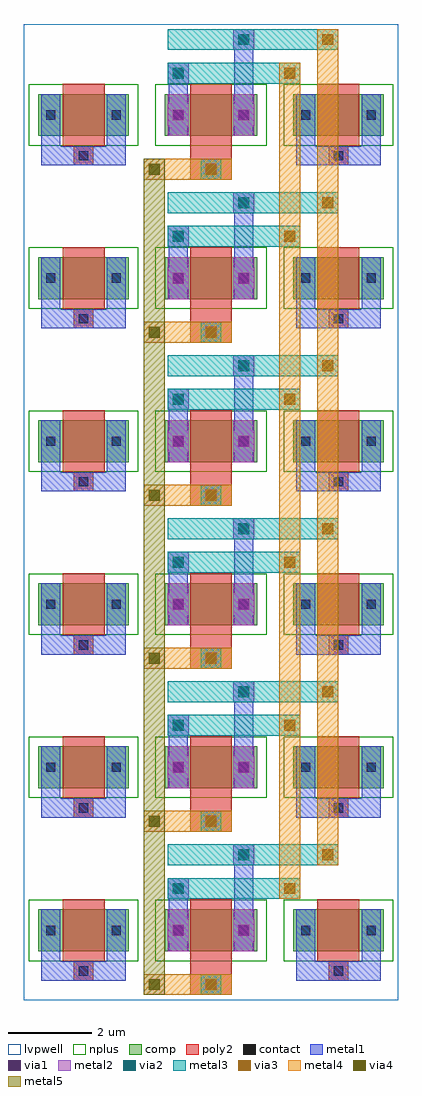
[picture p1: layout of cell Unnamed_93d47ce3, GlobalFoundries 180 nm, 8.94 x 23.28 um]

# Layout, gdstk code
import gdstk
lib = gdstk.Library(unit=1e-6, precision=5e-09)
def R(c, l, rs):  # rectangles x0, y0, x1, y1
    for r in rs: c.add(gdstk.rectangle(r[:2], r[2:], *l))
def A(c, l, x, y, w, h, nx, ny, dx, dy):  # array of equal rectangles
    R(c, l, [(x+i*dx, y+j*dy, x+i*dx+w, y+j*dy+h) for i in range(nx) for j in range(ny)])
def P(c, l, *ps):  # polygons
    for p in ps: c.add(gdstk.Polygon(p, *l))
comp = (22, 0)
poly2 = (30, 0)
nplus = (32, 0)
contact = (33, 0)
metal1 = (34, 0)
via1 = (35, 0)
metal2 = (36, 0)
via2 = (38, 0)
via3 = (40, 0)
via4 = (41, 0)
metal3 = (42, 0)
metal4 = (46, 0)
metal5 = (81, 0)
lvpwell = (204, 0)

unnamed_93d47ce3 = lib.new_cell('Unnamed_93d47ce3')
A(unnamed_93d47ce3, comp, -4.12, -10.48, 2.16, 1, 1, 6, 0, 3.89)
A(unnamed_93d47ce3, comp, -1.1, -10.48, 2.2, 1, 1, 6, 0, 3.89)
A(unnamed_93d47ce3, comp, 1.96, -10.48, 2.16, 1, 1, 6, 0, 3.89)
A(unnamed_93d47ce3, poly2, -0.5, -11.52, 1, 0.5, 1, 6, 0, 3.89)
A(unnamed_93d47ce3, poly2, -0.18, -11.45, 0.36, 0.36, 1, 6, 0, 3.89)
A(unnamed_93d47ce3, poly2, -3.27, -11.18, 0.46, 0.46, 1, 6, 0, 3.89)
A(unnamed_93d47ce3, poly2, 2.81, -11.18, 0.46, 0.46, 1, 6, 0, 3.89)
A(unnamed_93d47ce3, poly2, -3.22, -11.13, 0.36, 0.36, 1, 6, 0, 3.89)
A(unnamed_93d47ce3, poly2, 2.86, -11.13, 0.36, 0.36, 1, 6, 0, 3.89)
A(unnamed_93d47ce3, poly2, -0.5, -11.02, 1, 0.3, 1, 6, 0, 3.89)
A(unnamed_93d47ce3, poly2, -3.54, -10.72, 1, 1.48, 3, 6, 3.04, 3.89)
A(unnamed_93d47ce3, nplus, -4.35, -10.71, 2.62, 1.46, 1, 6, 0, 3.89)
A(unnamed_93d47ce3, nplus, -1.33, -10.71, 2.66, 1.46, 1, 6, 0, 3.89)
A(unnamed_93d47ce3, nplus, 1.73, -10.71, 2.62, 1.46, 1, 6, 0, 3.89)
A(unnamed_93d47ce3, contact, -0.11, -11.38, 0.22, 0.22, 1, 6, 0, 3.89)
A(unnamed_93d47ce3, contact, -3.15, -11.06, 0.22, 0.22, 1, 6, 0, 3.89)
A(unnamed_93d47ce3, contact, 2.93, -11.06, 0.22, 0.22, 1, 6, 0, 3.89)
A(unnamed_93d47ce3, contact, -3.93, -10.09, 0.22, 0.22, 1, 6, 0, 3.89)
A(unnamed_93d47ce3, contact, -2.37, -10.09, 0.22, 0.22, 1, 6, 0, 3.89)
A(unnamed_93d47ce3, contact, -0.89, -10.09, 0.22, 0.22, 1, 6, 0, 3.89)
A(unnamed_93d47ce3, contact, 0.67, -10.09, 0.22, 0.22, 1, 6, 0, 3.89)
A(unnamed_93d47ce3, contact, 2.15, -10.09, 0.22, 0.22, 1, 6, 0, 3.89)
A(unnamed_93d47ce3, contact, 3.71, -10.09, 0.22, 0.22, 1, 6, 0, 3.89)
A(unnamed_93d47ce3, metal1, -0.25, -11.52, 0.5, 0.5, 1, 6, 0, 3.89)
A(unnamed_93d47ce3, metal1, -4.05, -11.18, 0.78, 0.46, 1, 6, 0, 3.89)
A(unnamed_93d47ce3, metal1, -4.05, -11.18, 0.46, 0.7, 1, 6, 0, 3.89)
A(unnamed_93d47ce3, metal1, -3.27, -11.18, 0.46, 0.46, 1, 6, 0, 3.89)
A(unnamed_93d47ce3, metal1, -2.81, -11.18, 0.78, 0.46, 1, 6, 0, 3.89)
A(unnamed_93d47ce3, metal1, -2.49, -11.18, 0.46, 0.7, 1, 6, 0, 3.89)
A(unnamed_93d47ce3, metal1, 2.03, -11.18, 0.78, 0.46, 1, 6, 0, 3.89)
A(unnamed_93d47ce3, metal1, 2.03, -11.18, 0.46, 0.7, 1, 6, 0, 3.89)
A(unnamed_93d47ce3, metal1, 2.81, -11.18, 0.46, 0.46, 1, 6, 0, 3.89)
A(unnamed_93d47ce3, metal1, 3.27, -11.18, 0.78, 0.46, 1, 6, 0, 3.89)
A(unnamed_93d47ce3, metal1, 3.59, -11.18, 0.46, 0.7, 1, 6, 0, 3.89)
A(unnamed_93d47ce3, metal1, -4.05, -10.48, 0.46, 1, 1, 6, 0, 3.89)
A(unnamed_93d47ce3, metal1, -2.49, -10.48, 0.46, 1, 1, 6, 0, 3.89)
A(unnamed_93d47ce3, metal1, -1.01, -10.48, 0.46, 1, 1, 6, 0, 3.89)
A(unnamed_93d47ce3, metal1, 0.55, -10.48, 0.46, 1, 1, 6, 0, 3.89)
A(unnamed_93d47ce3, metal1, 2.03, -10.48, 0.46, 1, 1, 6, 0, 3.89)
A(unnamed_93d47ce3, metal1, 3.59, -10.48, 0.46, 1, 1, 6, 0, 3.89)
A(unnamed_93d47ce3, metal1, -4.05, -10.21, 0.46, 0.46, 1, 6, 0, 3.89)
A(unnamed_93d47ce3, metal1, -2.49, -10.21, 0.46, 0.46, 1, 6, 0, 3.89)
A(unnamed_93d47ce3, metal1, -1.01, -10.21, 0.46, 0.46, 1, 6, 0, 3.89)
A(unnamed_93d47ce3, metal1, 0.55, -10.21, 0.46, 0.46, 1, 6, 0, 3.89)
A(unnamed_93d47ce3, metal1, 2.03, -10.21, 0.46, 0.46, 1, 6, 0, 3.89)
A(unnamed_93d47ce3, metal1, 3.59, -10.21, 0.46, 0.46, 1, 6, 0, 3.89)
A(unnamed_93d47ce3, metal1, -1.01, -9.48, 0.46, 0.75, 1, 6, 0, 3.89)
A(unnamed_93d47ce3, metal1, 0.55, -9.48, 0.46, 1.55, 1, 6, 0, 3.89)
R(unnamed_93d47ce3, metal1, [(-1.03,-10.23,-0.53,-9.73), (-1.03,-10.23,-0.53,-9.73), (0.53,-10.23,1.03,-9.73), (0.53,-10.23,1.03,-9.73), (-1.03,-9.23,-0.53,-8.73), (0.53,-8.43,1.03,-7.93), (-1.03,-6.34,-0.53,-5.84), (-1.03,-6.34,-0.53,-5.84), (0.53,-6.34,1.03,-5.84), (0.53,-6.34,1.03,-5.84), (-1.03,-5.34,-0.53,-4.84), (0.53,-4.54,1.03,-4.04), (-1.03,-2.45,-0.53,-1.95), (-1.03,-2.45,-0.53,-1.95), (0.53,-2.45,1.03,-1.95), (0.53,-2.45,1.03,-1.95), (-1.03,-1.45,-0.53,-0.95), (0.53,-0.65,1.03,-0.15), (-1.03,1.44,-0.53,1.94), (-1.03,1.44,-0.53,1.94), (0.53,1.44,1.03,1.94), (0.53,1.44,1.03,1.94), (-1.03,2.44,-0.53,2.94), (0.53,3.24,1.03,3.74), (-1.03,5.33,-0.53,5.83), (-1.03,5.33,-0.53,5.83), (0.53,5.33,1.03,5.83), (0.53,5.33,1.03,5.83), (-1.03,6.33,-0.53,6.83), (0.53,7.13,1.03,7.63), (-1.03,9.22,-0.53,9.72), (-1.03,9.22,-0.53,9.72), (0.53,9.22,1.03,9.72), (0.53,9.22,1.03,9.72), (-1.03,10.22,-0.53,10.72), (0.53,11.02,1.03,11.52)])
A(unnamed_93d47ce3, via1, -0.13, -11.4, 0.26, 0.26, 1, 6, 0, 3.89)
R(unnamed_93d47ce3, via1, [(-0.91,-10.11,-0.65,-9.85), (0.65,-10.11,0.91,-9.85), (-0.91,-9.11,-0.65,-8.85), (0.65,-8.31,0.91,-8.05), (-0.91,-6.22,-0.65,-5.96), (0.65,-6.22,0.91,-5.96), (-0.91,-5.22,-0.65,-4.96), (0.65,-4.42,0.91,-4.16), (-0.91,-2.33,-0.65,-2.07), (0.65,-2.33,0.91,-2.07), (-0.91,-1.33,-0.65,-1.07), (0.65,-0.53,0.91,-0.27), (-0.91,1.56,-0.65,1.82), (0.65,1.56,0.91,1.82), (-0.91,2.56,-0.65,2.82), (0.65,3.36,0.91,3.62), (-0.91,5.45,-0.65,5.71), (0.65,5.45,0.91,5.71), (-0.91,6.45,-0.65,6.71), (0.65,7.25,0.91,7.51), (-0.91,9.34,-0.65,9.6), (0.65,9.34,0.91,9.6), (-0.91,10.34,-0.65,10.6), (0.65,11.14,0.91,11.4)])
A(unnamed_93d47ce3, metal2, -0.25, -11.52, 0.5, 0.5, 1, 6, 0, 3.89)
A(unnamed_93d47ce3, metal2, -1.03, -10.48, 0.5, 1, 1, 6, 0, 3.89)
A(unnamed_93d47ce3, metal2, 0.53, -10.48, 0.5, 1, 1, 6, 0, 3.89)
R(unnamed_93d47ce3, metal2, [(-1.03,-10.23,-0.53,-9.73), (0.53,-10.23,1.03,-9.73), (-1.03,-9.23,-0.53,-8.73), (0.53,-8.43,1.03,-7.93), (-1.03,-6.34,-0.53,-5.84), (0.53,-6.34,1.03,-5.84), (-1.03,-5.34,-0.53,-4.84), (0.53,-4.54,1.03,-4.04), (-1.03,-2.45,-0.53,-1.95), (0.53,-2.45,1.03,-1.95), (-1.03,-1.45,-0.53,-0.95), (0.53,-0.65,1.03,-0.15), (-1.03,1.44,-0.53,1.94), (0.53,1.44,1.03,1.94), (-1.03,2.44,-0.53,2.94), (0.53,3.24,1.03,3.74), (-1.03,5.33,-0.53,5.83), (0.53,5.33,1.03,5.83), (-1.03,6.33,-0.53,6.83), (0.53,7.13,1.03,7.63), (-1.03,9.22,-0.53,9.72), (0.53,9.22,1.03,9.72), (-1.03,10.22,-0.53,10.72), (0.53,11.02,1.03,11.52)])
A(unnamed_93d47ce3, via2, -0.13, -11.4, 0.26, 0.26, 1, 6, 0, 3.89)
A(unnamed_93d47ce3, via2, -0.91, -9.11, 0.26, 0.26, 1, 6, 0, 3.89)
A(unnamed_93d47ce3, via2, 0.65, -8.31, 0.26, 0.26, 1, 6, 0, 3.89)
A(unnamed_93d47ce3, via3, -0.13, -11.4, 0.26, 0.26, 1, 6, 0, 3.89)
R(unnamed_93d47ce3, via3, [(1.75,-9.11,2.01,-8.85), (2.65,-8.31,2.91,-8.05), (1.75,-5.22,2.01,-4.96), (1.75,-5.22,2.01,-4.96), (2.65,-4.42,2.91,-4.16), (2.65,-4.42,2.91,-4.16), (1.75,-1.33,2.01,-1.07), (1.75,-1.33,2.01,-1.07), (2.65,-0.53,2.91,-0.27), (2.65,-0.53,2.91,-0.27), (1.75,2.56,2.01,2.82), (1.75,2.56,2.01,2.82), (2.65,3.36,2.91,3.62), (2.65,3.36,2.91,3.62), (1.75,6.45,2.01,6.71), (1.75,6.45,2.01,6.71), (2.65,7.25,2.91,7.51), (2.65,7.25,2.91,7.51), (1.75,10.34,2.01,10.6), (2.65,11.14,2.91,11.4)])
R(unnamed_93d47ce3, via4, [(-1.48,-11.4,-1.22,-11.14), (-1.48,-7.51,-1.22,-7.25), (-1.48,-7.51,-1.22,-7.25), (-1.48,-3.62,-1.22,-3.36), (-1.48,-3.62,-1.22,-3.36), (-1.48,0.27,-1.22,0.53), (-1.48,0.27,-1.22,0.53), (-1.48,4.16,-1.22,4.42), (-1.48,4.16,-1.22,4.42), (-1.48,8.05,-1.22,8.31)])
A(unnamed_93d47ce3, metal3, -0.25, -11.52, 0.5, 0.5, 1, 6, 0, 3.89)
A(unnamed_93d47ce3, metal3, -1.03, -9.23, 0.5, 0.5, 1, 6, 0, 3.89)
A(unnamed_93d47ce3, metal3, 0.53, -8.43, 0.5, 0.5, 1, 6, 0, 3.89)
R(unnamed_93d47ce3, metal3, [(-1.03,-9.23,1.03,-8.73), (1.03,-9.23,2.13,-8.73), (1.63,-9.23,2.13,-8.73), (-1.03,-8.43,1.03,-7.93), (1.03,-8.43,3.03,-7.93), (2.53,-8.43,3.03,-7.93), (-1.03,-5.34,1.03,-4.84), (1.03,-5.34,2.13,-4.84), (1.03,-5.34,2.13,-4.84), (1.63,-5.34,2.13,-4.84), (1.63,-5.34,2.13,-4.84), (-1.03,-4.54,1.03,-4.04), (1.03,-4.54,3.03,-4.04), (1.03,-4.54,3.03,-4.04), (2.53,-4.54,3.03,-4.04), (2.53,-4.54,3.03,-4.04), (-1.03,-1.45,1.03,-0.95), (1.03,-1.45,2.13,-0.95), (1.03,-1.45,2.13,-0.95), (1.63,-1.45,2.13,-0.95), (1.63,-1.45,2.13,-0.95), (-1.03,-0.65,1.03,-0.15), (1.03,-0.65,3.03,-0.15), (1.03,-0.65,3.03,-0.15), (2.53,-0.65,3.03,-0.15), (2.53,-0.65,3.03,-0.15), (-1.03,2.44,1.03,2.94), (1.03,2.44,2.13,2.94), (1.03,2.44,2.13,2.94), (1.63,2.44,2.13,2.94), (1.63,2.44,2.13,2.94), (-1.03,3.24,1.03,3.74), (1.03,3.24,3.03,3.74), (1.03,3.24,3.03,3.74), (2.53,3.24,3.03,3.74), (2.53,3.24,3.03,3.74), (-1.03,6.33,1.03,6.83), (1.03,6.33,2.13,6.83), (1.03,6.33,2.13,6.83), (1.63,6.33,2.13,6.83), (1.63,6.33,2.13,6.83), (-1.03,7.13,1.03,7.63), (1.03,7.13,3.03,7.63), (1.03,7.13,3.03,7.63), (2.53,7.13,3.03,7.63), (2.53,7.13,3.03,7.63), (-1.03,10.22,1.03,10.72), (1.03,10.22,2.13,10.72), (1.63,10.22,2.13,10.72), (-1.03,11.02,1.03,11.52), (1.03,11.02,3.03,11.52), (2.53,11.02,3.03,11.52)])
A(unnamed_93d47ce3, metal4, -0.5, -11.52, 1, 0.5, 1, 6, 0, 3.89)
A(unnamed_93d47ce3, metal4, -0.25, -11.52, 0.5, 0.5, 1, 6, 0, 3.89)
A(unnamed_93d47ce3, metal4, 1.63, -9.23, 0.5, 4.39, 1, 5, 0, 3.89)
A(unnamed_93d47ce3, metal4, 2.53, -8.43, 0.5, 4.39, 1, 5, 0, 3.89)
R(unnamed_93d47ce3, metal4, [(-1.6,-11.52,-1.1,-11.02), (-1.6,-11.52,-0.5,-11.02), (1.63,-9.23,2.13,-8.73), (1.63,-9.23,2.13,-8.73), (2.53,-8.43,3.03,-7.93), (2.53,-8.43,3.03,-7.93), (-1.6,-7.63,-1.1,-7.13), (-1.6,-7.63,-1.1,-7.13), (-1.6,-7.63,-0.5,-7.13), (-1.6,-7.63,-0.5,-7.13), (1.63,-5.34,2.13,-4.84), (1.63,-5.34,2.13,-4.84), (1.63,-5.34,2.13,-4.84), (1.63,-5.34,2.13,-4.84), (2.53,-4.54,3.03,-4.04), (2.53,-4.54,3.03,-4.04), (2.53,-4.54,3.03,-4.04), (2.53,-4.54,3.03,-4.04), (-1.6,-3.74,-1.1,-3.24), (-1.6,-3.74,-1.1,-3.24), (-1.6,-3.74,-0.5,-3.24), (-1.6,-3.74,-0.5,-3.24), (1.63,-1.45,2.13,-0.95), (1.63,-1.45,2.13,-0.95), (1.63,-1.45,2.13,-0.95), (1.63,-1.45,2.13,-0.95), (2.53,-0.65,3.03,-0.15), (2.53,-0.65,3.03,-0.15), (2.53,-0.65,3.03,-0.15), (2.53,-0.65,3.03,-0.15), (-1.6,0.15,-1.1,0.65), (-1.6,0.15,-1.1,0.65), (-1.6,0.15,-0.5,0.65), (-1.6,0.15,-0.5,0.65), (1.63,2.44,2.13,2.94), (1.63,2.44,2.13,2.94), (1.63,2.44,2.13,2.94), (1.63,2.44,2.13,2.94), (2.53,3.24,3.03,3.74), (2.53,3.24,3.03,3.74), (2.53,3.24,3.03,3.74), (2.53,3.24,3.03,3.74), (-1.6,4.04,-1.1,4.54), (-1.6,4.04,-1.1,4.54), (-1.6,4.04,-0.5,4.54), (-1.6,4.04,-0.5,4.54), (1.63,6.33,2.13,6.83), (1.63,6.33,2.13,6.83), (1.63,6.33,2.13,6.83), (1.63,6.33,2.13,6.83), (2.53,7.13,3.03,7.63), (2.53,7.13,3.03,7.63), (2.53,7.13,3.03,7.63), (2.53,7.13,3.03,7.63), (-1.6,7.93,-1.1,8.43), (-1.6,7.93,-0.5,8.43), (1.63,10.22,2.13,10.72), (1.63,10.22,2.13,10.72), (2.53,11.02,3.03,11.52), (2.53,11.02,3.03,11.52)])
P(unnamed_93d47ce3, metal4, [(3.03,7.13),(3.03,7.13),(3.03,7.63),(3.03,7.63)],
  [(3.03,11.02),(3.03,11.02),(3.03,11.52),(3.03,11.52)],
  [(2.13,6.33),(2.13,6.33),(2.13,6.83),(2.13,6.83)],
  [(2.13,10.22),(2.13,10.22),(2.13,10.72),(2.13,10.72)],
  [(3.03,3.24),(3.03,3.24),(3.03,3.74),(3.03,3.74)],
  [(3.03,7.13),(3.03,7.13),(3.03,7.63),(3.03,7.63)],
  [(2.13,2.44),(2.13,2.44),(2.13,2.94),(2.13,2.94)],
  [(2.13,6.33),(2.13,6.33),(2.13,6.83),(2.13,6.83)],
  [(3.03,-0.65),(3.03,-0.65),(3.03,-0.15),(3.03,-0.15)],
  [(3.03,3.24),(3.03,3.24),(3.03,3.74),(3.03,3.74)],
  [(2.13,-1.45),(2.13,-1.45),(2.13,-0.95),(2.13,-0.95)],
  [(2.13,2.44),(2.13,2.44),(2.13,2.94),(2.13,2.94)],
  [(3.03,-4.54),(3.03,-4.54),(3.03,-4.04),(3.03,-4.04)],
  [(3.03,-0.65),(3.03,-0.65),(3.03,-0.15),(3.03,-0.15)],
  [(2.13,-5.34),(2.13,-5.34),(2.13,-4.84),(2.13,-4.84)],
  [(2.13,-1.45),(2.13,-1.45),(2.13,-0.95),(2.13,-0.95)],
  [(3.03,-8.43),(3.03,-8.43),(3.03,-7.93),(3.03,-7.93)],
  [(3.03,-4.54),(3.03,-4.54),(3.03,-4.04),(3.03,-4.04)],
  [(2.13,-9.23),(2.13,-9.23),(2.13,-8.73),(2.13,-8.73)],
  [(2.13,-5.34),(2.13,-5.34),(2.13,-4.84),(2.13,-4.84)])
A(unnamed_93d47ce3, metal5, -1.6, -11.52, 0.5, 4.39, 1, 5, 0, 3.89)
R(unnamed_93d47ce3, metal5, [(-1.6,-11.52,-1.1,-11.02), (-1.6,-11.52,-1.1,-11.02), (-1.6,-7.63,-1.1,-7.13), (-1.6,-7.63,-1.1,-7.13), (-1.6,-7.63,-1.1,-7.13), (-1.6,-7.63,-1.1,-7.13), (-1.6,-3.74,-1.1,-3.24), (-1.6,-3.74,-1.1,-3.24), (-1.6,-3.74,-1.1,-3.24), (-1.6,-3.74,-1.1,-3.24), (-1.6,0.15,-1.1,0.65), (-1.6,0.15,-1.1,0.65), (-1.6,0.15,-1.1,0.65), (-1.6,0.15,-1.1,0.65), (-1.6,4.04,-1.1,4.54), (-1.6,4.04,-1.1,4.54), (-1.6,4.04,-1.1,4.54), (-1.6,4.04,-1.1,4.54), (-1.6,7.93,-1.1,8.43), (-1.6,7.93,-1.1,8.43)])
P(unnamed_93d47ce3, metal5, [(-1.1,4.04),(-1.1,4.04),(-1.1,4.54),(-1.1,4.54)],
  [(-1.1,7.93),(-1.1,7.93),(-1.1,8.43),(-1.1,8.43)],
  [(-1.1,0.15),(-1.1,0.15),(-1.1,0.65),(-1.1,0.65)],
  [(-1.1,4.04),(-1.1,4.04),(-1.1,4.54),(-1.1,4.54)],
  [(-1.1,-3.74),(-1.1,-3.74),(-1.1,-3.24),(-1.1,-3.24)],
  [(-1.1,0.15),(-1.1,0.15),(-1.1,0.65),(-1.1,0.65)],
  [(-1.1,-7.63),(-1.1,-7.63),(-1.1,-7.13),(-1.1,-7.13)],
  [(-1.1,-3.74),(-1.1,-3.74),(-1.1,-3.24),(-1.1,-3.24)],
  [(-1.1,-11.52),(-1.1,-11.52),(-1.1,-11.02),(-1.1,-11.02)],
  [(-1.1,-7.63),(-1.1,-7.63),(-1.1,-7.13),(-1.1,-7.13)])
R(unnamed_93d47ce3, lvpwell, [(-4.47,-11.64,4.47,11.64)])

lib.write_gds('Unnamed_93d47ce3.gds')
